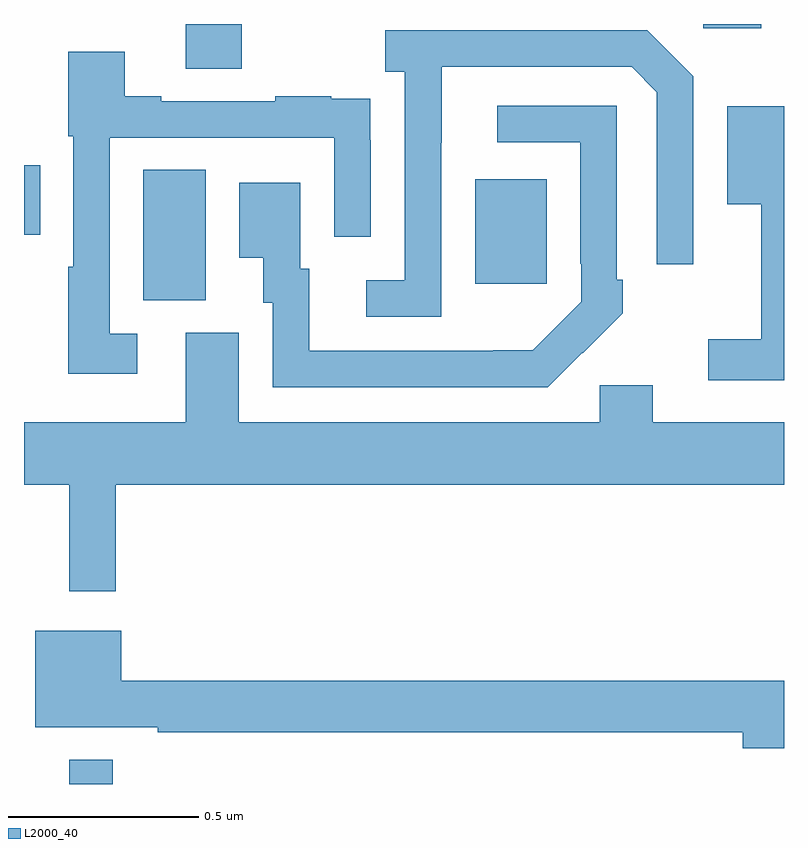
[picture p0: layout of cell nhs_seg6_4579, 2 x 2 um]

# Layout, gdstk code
import gdstk
lib = gdstk.Library(unit=1e-6, precision=1e-09)
def R(c, l, rs):  # rectangles x0, y0, x1, y1
    for r in rs: c.add(gdstk.rectangle(r[:2], r[2:], *l))
def P(c, l, *ps):  # polygons
    for p in ps: c.add(gdstk.Polygon(p, *l))
L2000_40 = (2000, 40)

nhs_seg6_4579 = lib.new_cell('nhs_seg6_4579')
R(nhs_seg6_4579, L2000_40, [(171.119,994.5,171.234,994.564), (171.314,995.773,171.478,996.116), (172.187,995.817,172.375,996.091), (171,995.945,171.043,996.128), (171.425,996.382,171.573,996.5), (172.788,996.489,172.94,996.5)])
P(nhs_seg6_4579, L2000_40, [(172.098,996.187),(172.099,996.187),(172.099,996.387),(172.599,996.387),(172.665,996.321),(172.665,995.868),(172.761,995.868),(172.761,996.363),(172.64,996.484),(171.951,996.484),(171.951,996.374),(172.002,996.374),(172.002,995.826),(171.9,995.826),(171.9,995.73),(172.098,995.73)],
  [(171.298,995.685),(171.225,995.685),(171.225,996.201),(171.816,996.201),(171.816,995.94),(171.912,995.94),(171.912,996.194),(171.911,996.194),(171.911,996.303),(171.809,996.303),(171.809,996.31),(171.661,996.31),(171.661,996.297),(171.361,996.297),(171.361,996.31),(171.265,996.31),(171.265,996.427),(171.116,996.427),(171.116,996.204),(171.129,996.204),(171.129,995.861),(171.117,995.861),(171.117,995.58),(171.298,995.58)],
  [(172.469,995.635),(172.47,995.634),(172.575,995.739),(172.575,995.827),(172.56,995.827),(172.56,996.285),(172.245,996.285),(172.245,996.189),(172.464,996.189),(172.464,995.869),(172.467,995.869),(172.467,995.769),(172.339,995.641),(172.235,995.641),(172.235,995.64),(171.751,995.64),(171.751,995.856),(171.727,995.856),(171.727,996.082),(171.566,996.082),(171.566,995.885),(171.629,995.885),(171.629,995.766),(171.654,995.766),(171.654,995.544),(172.378,995.544)],
  [(173,996.283),(172.85,996.283),(172.85,996.026),(172.94,996.026),(172.94,995.671),(172.8,995.671),(172.8,995.562),(173,995.562)],
  [(171.241,995.288),(173,995.288),(173,995.452),(172.654,995.452),(172.654,995.55),(172.515,995.55),(172.515,995.452),(171.565,995.452),(171.565,995.688),(171.425,995.688),(171.425,995.452),(171,995.452),(171,995.288),(171.119,995.288),(171.119,995.007),(171.241,995.007)],
  [(173,994.772),(171.256,994.772),(171.256,994.903),(171.029,994.903),(171.029,994.649),(171.352,994.649),(171.352,994.636),(172.892,994.636),(172.892,994.594),(173,994.594)])

lib.write_gds('nhs_seg6_4579.gds')
